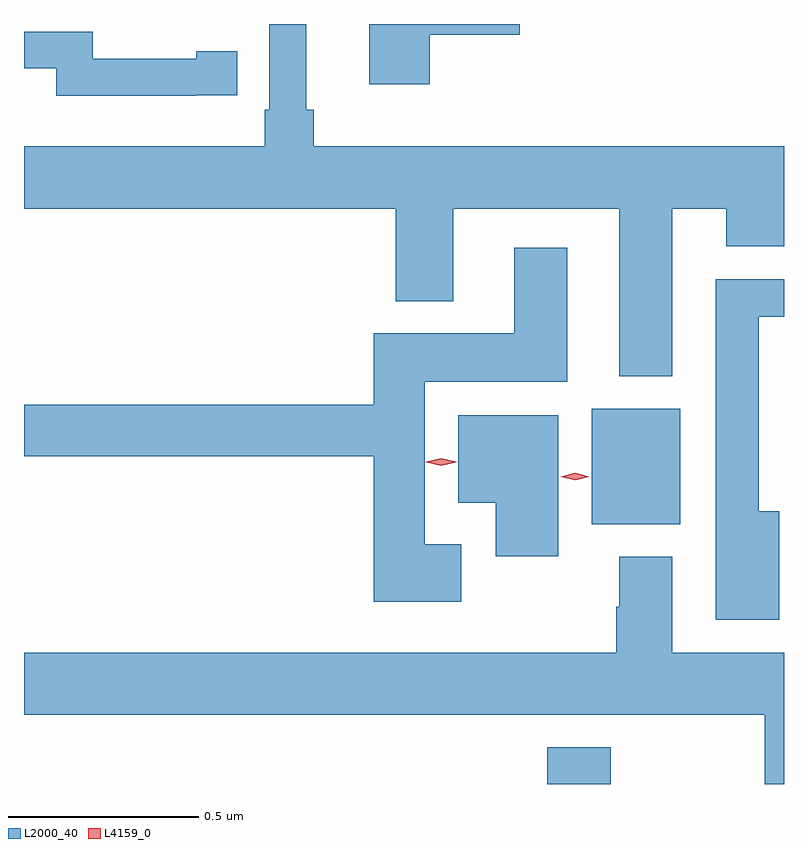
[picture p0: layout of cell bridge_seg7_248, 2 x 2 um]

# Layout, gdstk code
import gdstk
lib = gdstk.Library(unit=1e-6, precision=1e-09)
def R(c, l, rs):  # rectangles x0, y0, x1, y1
    for r in rs: c.add(gdstk.rectangle(r[:2], r[2:], *l))
def P(c, l, *ps):  # polygons
    for p in ps: c.add(gdstk.Polygon(p, *l))
L2000_40 = (2000, 40)
L4159_0 = (4159, 0)

bridge_seg7_248 = lib.new_cell('bridge_seg7_248')
R(bridge_seg7_248, L2000_40, [(259.268,1059.042,259.435,1059.139), (259.385,1059.725,259.618,1060.03)])
P(bridge_seg7_248, L2000_40, [(259.597,1060.556),(259.739,1060.556),(259.739,1060.457),(259.891,1060.457),(259.891,1060.72),(258.653,1060.72),(258.653,1060.816),(258.634,1060.816),(258.634,1061.042),(258.537,1061.042),(258.537,1060.816),(258.524,1060.816),(258.524,1060.72),(257.891,1060.72),(257.891,1060.556),(258.869,1060.556),(258.869,1060.313),(259.021,1060.313),(259.021,1060.556),(259.457,1060.556),(259.457,1060.115),(259.597,1060.115)],
  [(258.959,1061.014),(259.195,1061.014),(259.195,1061.042),(258.8,1061.042),(258.8,1060.884),(258.959,1060.884)],
  [(258.344,1060.854),(258.452,1060.854),(258.452,1060.97),(258.344,1060.97),(258.344,1060.95),(258.072,1060.95),(258.072,1061.022),(257.891,1061.022),(257.891,1060.926),(257.976,1060.926),(257.976,1060.853),(258.344,1060.853)],
  [(259.041,1059.673),(258.946,1059.673),(258.946,1060.1),(259.321,1060.1),(259.321,1060.453),(259.181,1060.453),(259.181,1060.228),(258.812,1060.228),(258.812,1060.04),(257.891,1060.04),(257.891,1059.904),(258.812,1059.904),(258.812,1059.521),(259.041,1059.521)],
  [(259.879,1059.76),(259.825,1059.76),(259.825,1060.272),(259.891,1060.272),(259.891,1060.37),(259.712,1060.37),(259.712,1059.474),(259.879,1059.474)],
  [(259.297,1060.012),(259.034,1060.012),(259.034,1059.782),(259.133,1059.782),(259.133,1059.642),(259.297,1059.642)],
  [(259.891,1059.388),(259.597,1059.388),(259.597,1059.64),(259.457,1059.64),(259.457,1059.509),(259.45,1059.509),(259.45,1059.388),(257.891,1059.388),(257.891,1059.224),(259.84,1059.224),(259.84,1059.042),(259.891,1059.042)])
P(bridge_seg7_248, L4159_0, [(259.341,1059.841),(259.303,1059.85),(259.303,1059.851),(259.303,1059.851),(259.341,1059.861),(259.379,1059.851),(259.379,1059.851),(259.379,1059.85)],
  [(258.989,1059.88),(258.95,1059.889),(258.949,1059.889),(258.95,1059.89),(258.989,1059.899),(259.029,1059.89),(259.029,1059.89),(259.029,1059.889)])

lib.write_gds('bridge_seg7_248.gds')
